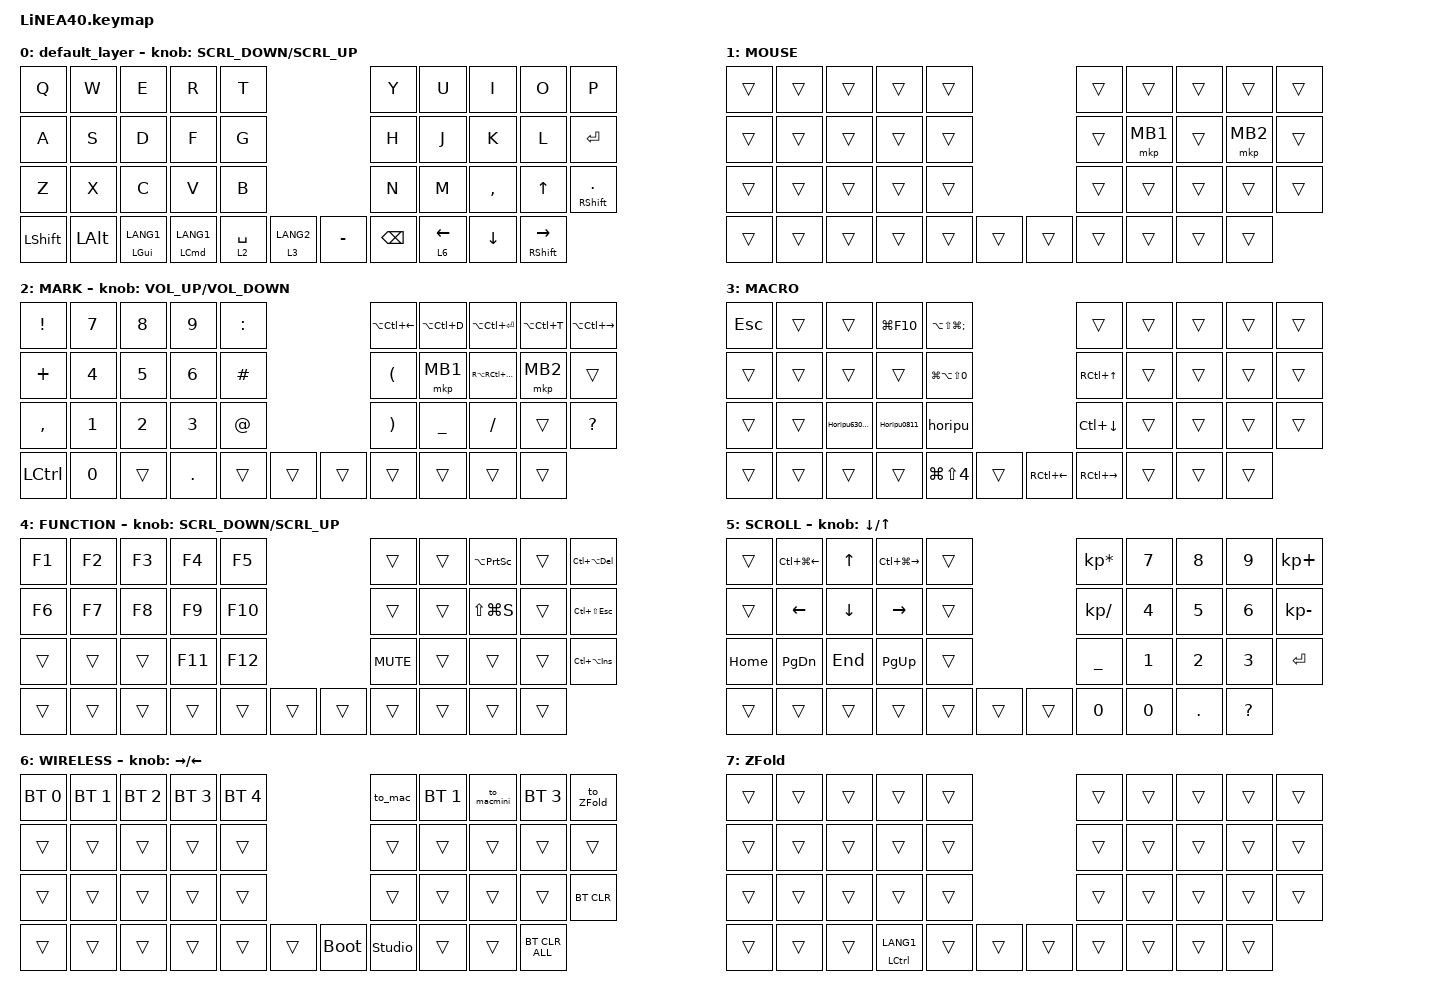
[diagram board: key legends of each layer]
#define ZMK_POINTING_DEFAULT_SCRL_VAL 150

#include <dt-bindings/zmk/input_transform.h>
#include <input/processors.dtsi>
#include <zephyr/dt-bindings/input/input-event-codes.h>
#include <behaviors.dtsi>
#include <dt-bindings/zmk/bt.h>
#include <dt-bindings/zmk/keys.h>
#include <dt-bindings/zmk/pointing.h>

#define MOUSE 1
#define MARK 2
#define CURSOR 3
#define FUNCTION 4
#define SCROLL 5
#define WIRELESS 6

//mouse cursol

&mmv {
    delay-ms = <20>;
    trigger-period-ms = <5>;
    time-to-max-speed-ms = <100>;
    acceleration-exponent = <2>;
};

//mouse scroll

&msc {
    delay-ms = <3>;
    trigger-period-ms = <3>;
    time-to-max-speed-ms = <100>;
    acceleration-exponent = <0>;
};

/ {
    input_processors {
        zip_wheel_scaler: zip_wheel_scaler {
            compatible = "zmk,input-processor-scaler";
            #input-processor-cells = <2>;
            type = <INPUT_EV_REL>;
            codes = <INPUT_REL_WHEEL>;
            track-remainders;
        };
    };
};

&msc_input_listener {
    speed_up {
        layers = <FUNCTION>;
        input-processors = <&zip_wheel_scaler 3 1>; //スクロールを3倍速にする
    };
};

&trackball_listener {
    scroller {
        layers = <SCROLL>;
        input-processors =
            <&zip_xy_transform INPUT_TRANSFORM_Y_INVERT>,
            //スクロール方向を逆転,,,,,,,,,,,,,,,,,,,,
            <&zip_xy_to_scroll_mapper>;
    };
};

/ {
    combos {
        compatible = "zmk,combos";

        tab {
            bindings = <&kp TAB>;
            key-positions = <10 11>;
        };

        finder {
            bindings = <&kp RS(RA(RC(RG(F))))>;
            key-positions = <16 17>;
        };
    };

    behaviors {
        re_kp: sensor_rotate_kp {
            compatible = "zmk,behavior-sensor-rotate-var";
            #sensor-binding-cells = <2>;
            bindings = <&kp>, <&kp>;
        };

        mouse_scrl: mouse_wheel_scrl {
            compatible = "zmk,behavior-sensor-rotate-var";
            #sensor-binding-cells = <2>;
            bindings = <&msc>, <&msc>;

            tap-ms = <20>;
        };
    };

    macros {
        horipu: horipu {
            compatible = "zmk,behavior-macro";
            #binding-cells = <0>;
            bindings = <&none &kp H &kp O &kp R &kp I &kp P &kp U &kp RET>;
            label = "HORIPU";
        };

        Horipu0811: Horipu0811 {
            compatible = "zmk,behavior-macro";
            #binding-cells = <0>;
            bindings = <&none &kp LS(H) &kp O &kp R &kp I &kp P &kp U &kp N0 &kp N8 &kp N1 &kp N1>;
            label = "HORIPU0811";
        };

        Horipu630811: Horipu630811 {
            compatible = "zmk,behavior-macro";
            #binding-cells = <0>;
            bindings = <&none &kp LS(H) &kp O &kp R &kp I &kp P &kp U &kp N6 &kp N3 &kp N0 &kp N8 &kp N1 &kp N1>;
            label = "HORIPU630811";
        };

        to_ZFold: to_ZFold {
            compatible = "zmk,behavior-macro";
            #binding-cells = <0>;
            bindings = <&bt BT_SEL 4>, <&macro_wait_time 200>, <&to 7>;

            label = "TO_ZFOLD";
        };

        to_mac: to_mac {
            compatible = "zmk,behavior-macro";
            #binding-cells = <0>;
            bindings = <&bt BT_SEL 0>, <&macro_wait_time 200>, <&to 0>;

            label = "TO_MAC";
        };

        to_macmini: to_macmini {
            compatible = "zmk,behavior-macro";
            #binding-cells = <0>;
            bindings = <&bt BT_SEL 2>, <&macro_wait_time 200>, <&to 0>;

            label = "TO_MACMINI";
        };
    };

    keymap {
        compatible = "zmk,keymap";

        default_layer {
            bindings = <
&kp Q           &kp W         &kp E               &kp R                   &kp T                                  &kp Y          &kp U  &kp I             &kp O           &kp P
&kp A           &kp S         &kp D               &kp F                   &kp G                                  &kp H          &kp J  &kp K             &kp L           &kp RET
&kp Z           &kp X         &kp C               &kp V                   &kp B                                  &kp N          &kp M  &kp COMMA         &kp UP_ARROW    &mt RIGHT_SHIFT PERIOD
&kp LEFT_SHIFT  &kp LEFT_ALT  &mt LEFT_GUI LANG1  &mt LEFT_COMMAND LANG1  &lt 2 SPACE  &lt 3 LANG2    &kp MINUS  &kp BACKSPACE         &lt 6 LEFT_ARROW  &kp DOWN_ARROW  &mt RIGHT_SHIFT RIGHT_ARROW
            >;

            sensor-bindings = <&mouse_scrl SCRL_DOWN SCRL_UP>;
        };

        //1

        MOUSE {
            bindings = <
&trans  &trans  &trans  &trans  &trans                    &trans  &trans    &trans  &trans    &trans
&trans  &trans  &trans  &trans  &trans                    &trans  &mkp MB1  &trans  &mkp MB2  &trans
&trans  &trans  &trans  &trans  &trans                    &trans  &trans    &trans  &trans    &trans
&trans  &trans  &trans  &trans  &trans  &trans    &trans  &trans            &trans  &trans    &trans
            >;
        };

        //2

        MARK {
            bindings = <
&kp EXCL   &kp N7        &kp N8        &kp N9        &kp COLON                      &kp LA(LC(LEFT_ARROW))  &kp LA(LC(D))  &kp LA(LC(RET))        &kp LA(LC(T))  &kp LA(LC(RIGHT_ARROW))
&kp PLUS   &kp NUMBER_4  &kp N5        &kp NUMBER_6  &kp HASH                       &kp LEFT_PARENTHESIS    &mkp MB1       &kp RA(RC(RG(RS(F))))  &mkp MB2       &trans
&kp COMMA  &kp NUMBER_1  &kp NUMBER_2  &kp NUMBER_3  &kp AT_SIGN                    &kp RIGHT_PARENTHESIS   &kp UNDER      &kp SLASH              &trans         &kp QUESTION
&kp LCTRL  &kp N0        &trans        &kp PERIOD    &trans       &trans    &trans  &trans                                 &trans                 &trans         &trans
            >;

            sensor-bindings = <&re_kp C_VOLUME_UP C_VOLUME_DOWN>;
        };

        //3

        MACRO {
            bindings = <
&kp ESCAPE  &trans  &trans         &kp LG(F10)  &kp LA(LS(LG(SEMI)))                                &trans               &trans  &trans  &trans  &trans
&trans      &trans  &trans         &trans       &kp LG(LA(LS(N0)))                                  &kp RC(UP_ARROW)     &trans  &trans  &trans  &trans
&trans      &trans  &Horipu630811  &Horipu0811  &horipu                                             &kp LC(DOWN_ARROW)   &trans  &trans  &trans  &trans
&trans      &trans  &trans         &trans       &kp LG(LS(NUMBER_4))  &trans    &kp RC(LEFT_ARROW)  &kp RC(RIGHT_ARROW)          &trans  &trans  &trans
            >;
        };

        //4

        FUNCTION {
            bindings = <
&kp F1  &kp F2  &kp F3  &kp F4   &kp F5                     &trans      &trans  &kp LA(PRINTSCREEN)  &trans  &kp LC(LA(DELETE))
&kp F6  &kp F7  &kp F8  &kp F9   &kp F10                    &trans      &trans  &kp LS(LG(S))        &trans  &kp LC(LS(ESCAPE))
&trans  &trans  &trans  &kp F11  &kp F12                    &kp C_MUTE  &trans  &trans               &trans  &kp LC(LA(INS))
&trans  &trans  &trans  &trans   &trans   &trans    &trans  &trans              &trans               &trans  &trans
            >;

            sensor-bindings = <&mouse_scrl SCRL_DOWN SCRL_UP>;
        };

        //5

        SCROLL {
            bindings = <
&trans    &kp LC(LG(LEFT_ARROW))  &kp UP_ARROW  &kp LC(LG(RIGHT_ARROW))  &trans                    &kp KP_MULTIPLY  &kp NUMBER_7  &kp NUMBER_8  &kp NUMBER_9  &kp KP_PLUS
&trans    &kp LEFT_ARROW          &kp DOWN      &kp RIGHT_ARROW          &trans                    &kp KP_SLASH     &kp NUMBER_4  &kp NUMBER_5  &kp NUMBER_6  &kp KP_MINUS
&kp HOME  &kp PAGE_DOWN           &kp END       &kp PAGE_UP              &trans                    &kp UNDER        &kp NUMBER_1  &kp NUMBER_2  &kp NUMBER_3  &kp ENTER
&trans    &trans                  &trans        &trans                   &trans  &trans    &trans  &kp NUMBER_0                   &kp NUMBER_0  &kp DOT       &kp QUESTION
            >;

            sensor-bindings = <&inc_dec_kp DOWN_ARROW UP_ARROW>;
        };

        //6

        WIRELESS {
            bindings = <
&bt BT_SEL 0  &bt BT_SEL 1  &bt BT_SEL 2  &bt BT_SEL 3  &bt BT_SEL 4                         &to_mac         &bt BT_SEL 1  &to_macmini  &bt BT_SEL 3  &to_ZFold
&trans        &trans        &trans        &trans        &trans                               &trans          &trans        &trans       &trans        &trans
&trans        &trans        &trans        &trans        &trans                               &trans          &trans        &trans       &trans        &bt BT_CLR
&trans        &trans        &trans        &trans        &trans        &trans    &bootloader  &studio_unlock                &trans       &trans        &bt BT_CLR_ALL
            >;

            sensor-bindings = <&inc_dec_kp RIGHT_ARROW LEFT_ARROW>;
        };

        ZFold {
            bindings = <
&trans  &trans  &trans  &trans           &trans                    &trans  &trans  &trans  &trans  &trans
&trans  &trans  &trans  &trans           &trans                    &trans  &trans  &trans  &trans  &trans
&trans  &trans  &trans  &trans           &trans                    &trans  &trans  &trans  &trans  &trans
&trans  &trans  &trans  &mt LCTRL LANG1  &trans  &trans    &trans  &trans          &trans  &trans  &trans
            >;
        };
    };
};
